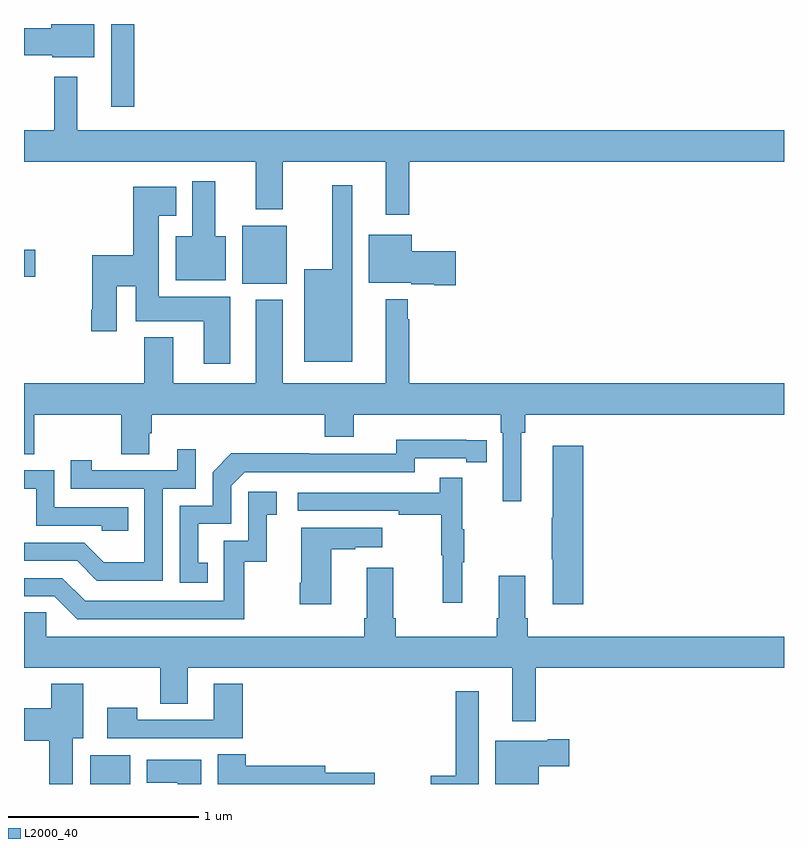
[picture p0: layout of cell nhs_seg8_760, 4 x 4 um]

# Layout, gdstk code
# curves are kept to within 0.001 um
import gdstk
lib = gdstk.Library(unit=1e-6, precision=1e-09)
def R(c, l, rs):  # rectangles x0, y0, x1, y1
    for r in rs: c.add(gdstk.rectangle(r[:2], r[2:], *l))
def P(c, l, *ps):  # polygons
    for p in ps: c.add(gdstk.Polygon(p, *l))
L2000_40 = (2000, 40)

nhs_seg8_760 = lib.new_cell('nhs_seg8_760')
R(nhs_seg8_760, L2000_40, [(161.348,1103.9,161.56,1104.052), (162.149,1106.534,162.382,1106.839), (161,1106.57,161.059,1106.712), (161.459,1107.465,161.581,1107.9)])
P(nhs_seg8_760, L2000_40, [(161.371,1107.9),(161.144,1107.9),(161.144,1107.878),(161,1107.878),(161,1107.736),(161.148,1107.736),(161.148,1107.725),(161.371,1107.725)],
  [(163.027,1107.176),(165,1107.176),(165,1107.34),(161.281,1107.34),(161.281,1107.622),(161.16,1107.622),(161.16,1107.34),(161,1107.34),(161,1107.176),(162.221,1107.176),(162.221,1106.924),(162.361,1106.924),(162.361,1107.176),(162.905,1107.176),(162.905,1106.895),(163.027,1106.895)],
  [(162.061,1106.782),(162.007,1106.782),(162.007,1107.073),(161.885,1107.073),(161.885,1106.782),(161.798,1106.782),(161.798,1106.552),(162.061,1106.552)],
  [(162.727,1107.052),(162.623,1107.052),(162.623,1106.608),(162.476,1106.608),(162.476,1106.123),(162.727,1106.123)],
  [(162.085,1106.464),(161.71,1106.464),(161.71,1106.891),(161.8,1106.891),(161.8,1107.043),(161.576,1107.043),(161.576,1106.684),(161.359,1106.684),(161.359,1106.395),(161.354,1106.395),(161.354,1106.283),(161.488,1106.283),(161.488,1106.519),(161.588,1106.519),(161.588,1106.336),(161.945,1106.336),(161.945,1106.112),(162.085,1106.112)],
  [(163.273,1106.703),(163.042,1106.703),(163.042,1106.791),(162.815,1106.791),(162.815,1106.537),(163.038,1106.537),(163.038,1106.531),(163.16,1106.531),(163.16,1106.525),(163.273,1106.525)],
  [(163.618,1105.748),(163.637,1105.748),(163.637,1105.844),(165,1105.844),(165,1106.008),(163.027,1106.008),(163.027,1106.345),(163.019,1106.345),(163.019,1106.452),(162.905,1106.452),(162.905,1106.008),(162.361,1106.008),(162.361,1106.449),(162.221,1106.449),(162.221,1106.008),(161.785,1106.008),(161.785,1106.251),(161.633,1106.251),(161.633,1106.008),(161,1106.008),(161,1105.636),(161.055,1105.636),(161.055,1105.844),(161.512,1105.844),(161.512,1105.636),(161.659,1105.636),(161.659,1105.746),(161.672,1105.746),(161.672,1105.844),(162.584,1105.844),(162.584,1105.727),(162.736,1105.727),(162.736,1105.844),(163.508,1105.844),(163.508,1105.748),(163.521,1105.748),(163.521,1105.389),(163.618,1105.389)],
  [(161.966,1105.065),(161.917,1105.065),(161.917,1105.269),(162.09,1105.269),(162.09,1105.47),(162.162,1105.542),(163.056,1105.542),(163.056,1105.614),(163.328,1105.614),(163.328,1105.594),(163.436,1105.594),(163.436,1105.71),(162.96,1105.711),(162.96,1105.638),(162.5,1105.638),(162.5,1105.64),(162.092,1105.64),(161.994,1105.542),(161.994,1105.365),(161.82,1105.365),(161.82,1104.96),(161.966,1104.96)],
  [(163.943,1105.681),(163.784,1105.681),(163.784,1105.301),(163.777,1105.301),(163.777,1105.084),(163.784,1105.084),(163.784,1104.846),(163.943,1104.846)],
  [(161.73,1105.455),(161.904,1105.455),(161.904,1105.663),(161.807,1105.663),(161.807,1105.551),(161.356,1105.551),(161.356,1105.603),(161.245,1105.603),(161.245,1105.455),(161.634,1105.455),(161.634,1105.066),(161.42,1105.066),(161.316,1105.17),(161,1105.17),(161,1105.074),(161.279,1105.074),(161.384,1104.969),(161.73,1104.969)],
  [(161.549,1105.356),(161.16,1105.356),(161.16,1105.551),(161,1105.551),(161,1105.455),(161.064,1105.455),(161.064,1105.26),(161.409,1105.26),(161.409,1105.233),(161.549,1105.233)],
  [(163.307,1105.067),(163.318,1105.067),(163.318,1105.241),(163.307,1105.241),(163.307,1105.513),(163.189,1105.513),(163.189,1105.434),(162.441,1105.434),(162.441,1105.338),(162.973,1105.338),(162.973,1105.318),(163.197,1105.318),(163.197,1105.104),(163.204,1105.104),(163.204,1104.855),(163.307,1104.855)],
  [(162.16,1105.071),(162.278,1105.071),(162.278,1105.317),(162.331,1105.317),(162.331,1105.438),(162.18,1105.438),(162.18,1105.179),(162.051,1105.179),(162.051,1104.864),(161.322,1104.864),(161.202,1104.984),(161,1104.984),(161,1104.888),(161.16,1104.888),(161.28,1104.768),(162.16,1104.768)],
  [(162.616,1105.135),(162.743,1105.135),(162.743,1105.145),(162.886,1105.145),(162.886,1105.249),(162.458,1105.249),(162.458,1104.958),(162.451,1104.958),(162.451,1104.846),(162.616,1104.846)],
  [(163.693,1104.512),(165,1104.512),(165,1104.676),(163.652,1104.676),(163.652,1104.772),(163.639,1104.772),(163.639,1104.997),(163.499,1104.997),(163.499,1104.772),(163.487,1104.772),(163.487,1104.676),(162.956,1104.676),(162.956,1104.772),(162.943,1104.772),(162.943,1105.039),(162.803,1105.039),(162.803,1104.772),(162.791,1104.772),(162.791,1104.676),(161.118,1104.676),(161.118,1104.803),(161,1104.803),(161,1104.512),(161.716,1104.512),(161.716,1104.322),(161.863,1104.322),(161.863,1104.512),(163.571,1104.512),(163.571,1104.231),(163.693,1104.231)],
  [(161.257,1104.14),(161.311,1104.14),(161.311,1104.427),(161.144,1104.427),(161.144,1104.298),(161,1104.298),(161,1104.128),(161.132,1104.128),(161.132,1103.9),(161.257,1103.9)],
  [(162.152,1104.427),(161.999,1104.427),(161.999,1104.237),(161.595,1104.237),(161.595,1104.301),(161.439,1104.301),(161.439,1104.141),(162.152,1104.141)],
  [(163.393,1104.388),(163.272,1104.388),(163.272,1103.944),(163.142,1103.944),(163.142,1103.9),(163.393,1103.9)],
  [(163.708,1103.993),(163.87,1103.993),(163.87,1104.135),(163.757,1104.135),(163.757,1104.127),(163.481,1104.127),(163.481,1103.9),(163.708,1103.9)],
  [(162.847,1103.96),(162.586,1103.96),(162.586,1103.996),(162.167,1103.996),(162.167,1104.056),(162.02,1104.056),(162.02,1103.9),(162.847,1103.9)],
  [(161.932,1104.028),(161.645,1104.028),(161.645,1103.906),(161.81,1103.906),(161.81,1103.9),(161.932,1103.9)])

lib.write_gds('nhs_seg8_760.gds')
